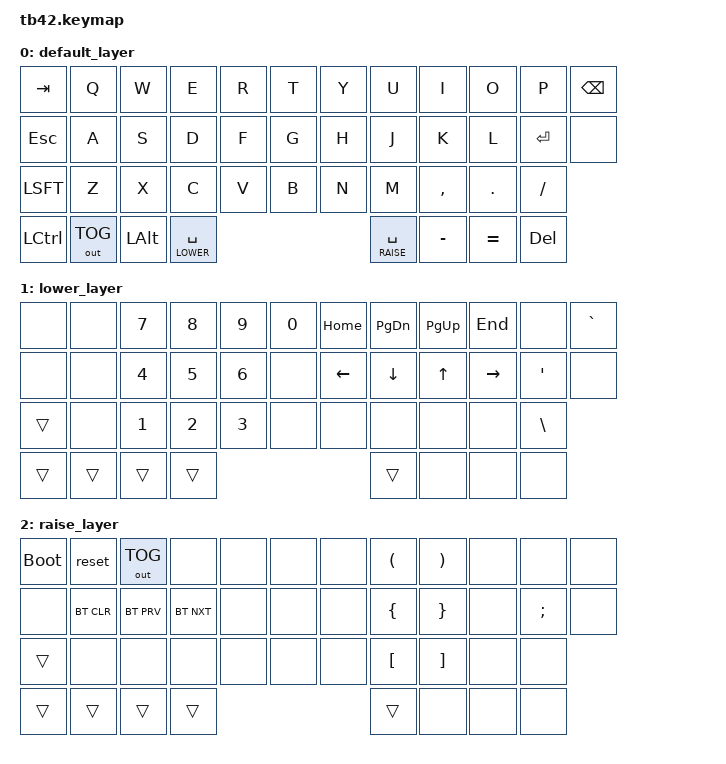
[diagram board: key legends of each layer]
#include <behaviors.dtsi>
#include <dt-bindings/zmk/keys.h>
#include <dt-bindings/zmk/bt.h>
#include <dt-bindings/zmk/outputs.h>

#define DEFAULT 0
#define LOWER   1
#define RAISE   2

/ {
  keymap {
    compatible = "zmk,keymap";

//     ┎─┰─┐  box drawing characters
//     │ │ │
//     ├─┼─┤
//     │ │ │
//     └─┴─┘

//     ┎────────┰────────┰────────┰────────┰────────┰────────┰────────┰────────┰────────┰────────┰────────┰────────┐
//     │ TAB    │ Q      │ W      │ E      │ R      │ T      │ Y      │ U      │ I      │ O      │ P      │ BKSP   │
//  ┎──┴────────┴──┰─────┴──┰─────┴──┰─────┴──┰─────┴──┰─────┴──┰─────┴──┰─────┴──┰─────┴──┰─────┴──┰─────┴────────┴──┐
//  │ ESC          │ A      │ S      │ D      │ F      │ G      │ H      │ J      │ K      │ L      │ RET             │
//  ├──────────────┴────┰───┴────┰───┴────┰───┴────┰───┴────┰───┴────┰───┴────┰───┴────┰───┴───┰────┴──┰──────────────┤
//  │ LSFT              │ Z      │ X      │ C      │ V      │ B      │ N      │ M      │ <     │ >     │ SLSH         │
//  └──┰─────────────┰──┴─────┰──┴───────┰┴────────┴───────┰┴────────┴───────┰┴────────┴───┰───┴────┰──┴──────────┰───┘
//     │ LCTL        │ WIN    │ ALT      │ SPC/LOWER       │ SPC/RAISE       │ DASH        │ EQL    │ DEL         │
//     └─────────────┴────────┴──────────┴─────────────────┴─────────────────┴─────────────┴────────┴─────────────┘


    default_layer {
      bindings = <
        &kp TAB  &kp Q        &kp W    &kp E  &kp R  &kp T   &kp Y   &kp U  &kp I     &kp O     &kp P    &kp BKSP
        &kp ESC  &kp A        &kp S    &kp D  &kp F  &kp G   &kp H   &kp J  &kp K     &kp L     &kp RET  &none
        &kp LSFT &kp Z        &kp X    &kp C  &kp V  &kp B   &kp N   &kp M  &kp CMMA  &kp DOT   &kp FSLH
        &kp LCTL &out OUT_TOG &kp LALT  &lt LOWER SPACE &lt RAISE SPACE     &kp MINUS &kp EQUAL &kp DEL
      >;
    };

//     ┎────────┰────────┰────────┰────────┰────────┰────────┰────────┰────────┰────────┰────────┰────────┰────────┐
//     │        │        │ 7      │ 8      │ 9      │ 0      │ HOME   │ PGDN   │ PGUP   │ END    │        │ GRAV   │
//  ┎──┴────────┴──┰─────┴──┰─────┴──┰─────┴──┰─────┴──┰─────┴──┰─────┴──┰─────┴──┰─────┴──┰─────┴──┰─────┴────────┴──┐
//  │              │        │ 4      │ 5      │ 6      │        │ ←      │ ↓      │ ↑      │ →      │ QUOT            │
//  ├──────────────┴────┰───┴────┰───┴────┰───┴────┰───┴────┰───┴────┰───┴────┰───┴────┰───┴───┰────┴──┰──────────────┤
//  │ LSFT              │        │ 1      │ 2      │ 3      │        │        │        │       │       │ BSLSH        │
//  └──┰─────────────┰──┴─────┰──┴───────┰┴────────┴───────┰┴────────┴───────┰┴────────┴───┰───┴────┰──┴──────────┰───┘
//     │ LCTL        │ WIN    │ ALT      │ SPC/LAYER1      │ SPC/LAYER2      │             │        │             │
//     └─────────────┴────────┴──────────┴─────────────────┴─────────────────┴─────────────┴────────┴─────────────┘

    lower_layer {
      bindings = <
        &none    &none   &kp N7   &kp N8 &kp N9 &kp N0  &kp HOME &kp PG_DN &kp PG_UP &kp END    &none    &kp GRAVE
        &none    &none   &kp N4   &kp N5 &kp N6 &none   &kp LEFT &kp DOWN  &kp UP    &kp RIGHT  &kp APOS &none
        &trans   &none   &kp N1   &kp N2 &kp N3 &none   &none    &none     &none     &none      &kp BSLH
        &trans   &trans  &trans                 &trans  &trans             &none     &none      &none
      >;
    };

//     ┎────────┰────────┰────────┰────────┰────────┰────────┰────────┰────────┰────────┰────────┰────────┰────────┐
//     │ BOOT   │ RESET  │ OUTTOG │        │        │        │        │ (      │ )      │        │        │        │
//  ┎──┴────────┴──┰─────┴──┰─────┴──┰─────┴──┰─────┴──┰─────┴──┰─────┴──┰─────┴──┰─────┴──┰─────┴──┰─────┴────────┴──┐
//  │              │ BL RST │ BL NXT │ BL PRV │        │        │        │ {      │ }      │        │ SCLN            │
//  ├──────────────┴────┰───┴────┰───┴────┰───┴────┰───┴────┰───┴────┰───┴────┰───┴────┰───┴───┰────┴──┰──────────────┤
//  │ LSFT              │        │        │        │        │        │        │ [      │ ]     │       │              │
//  └──┰─────────────┰──┴─────┰──┴───────┰┴────────┴───────┰┴────────┴───────┰┴────────┴───┰───┴────┰──┴──────────┰───┘
//     │ LCTL        │ WIN    │ ALT      │ SPC/LAYER1      │ SPC/LAYER2      │             │        │             │
//     └─────────────┴────────┴──────────┴─────────────────┴─────────────────┴─────────────┴────────┴─────────────┘

    raise_layer {
      bindings = <
        &bootloader &reset     &out OUT_TOG &none       &none  &none   &none   &kp LPAR  &kp RPAR &none  &none    &none
        &none       &bt BT_CLR &bt BT_PRV   &bt BT_NXT  &none  &none   &none   &kp LBRC  &kp RBRC &none  &kp SCLN &none
        &trans      &none      &none        &none       &none  &none   &none   &kp LBKT  &kp RBKT &none  &none
        &trans      &trans     &trans                     &trans  &trans          &none    &none    &none
      >;
    };

  };
};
